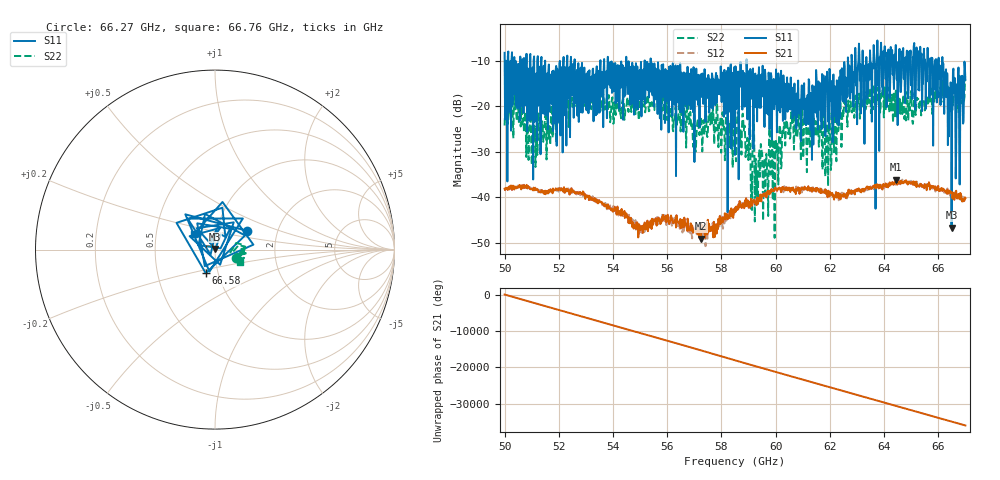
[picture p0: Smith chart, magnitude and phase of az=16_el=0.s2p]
!Created with skrf (http://scikit-rf.org).
# GHz S RI R 50.0
!freq ReS11 ImS11 ReS21 ImS21 ReS12 ImS12 ReS22 ImS22
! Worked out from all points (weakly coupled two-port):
!   1001 points, 50 GHz to 67 GHz, reference 50 ohm
!   highest |S21| = -36.14 dB at 64.45 GHz (marker M1); lowest = -49.1 dB at 57.24 GHz (marker M2)
!   lowest |S11| = -46.7 dB at 66.49 GHz (marker M3), VSWR 1.01, Z = 50.2 + j0.415 ohm
!   |S11| at or under -10 dB: 52.58 GHz to 53.53 GHz (949.6 MHz wide, 1.79 % of centre); 55.39 GHz to 58.92 GHz (3.533 GHz wide, 6.18 % of centre); 58.93 GHz to 62.66 GHz (3.736 GHz wide, 6.14 % of centre) (the widest 3 of 64)
!   |S22| runs from -48.9 to -13.2 dB; largest |S21 - S12| = 0.0023
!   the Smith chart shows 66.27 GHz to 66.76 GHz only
!   S11 on the Smith chart (normalised r, x): 66.27 GHz: 1.39, +0.30; 66.58 GHz: 0.87, -0.23; 66.76 GHz: 0.78, +0.14
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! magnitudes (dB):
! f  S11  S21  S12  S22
! 50 GHz  -8.2  -38.1  -38.2  -24.2
! 50.15 GHz  -21.3  -37.7  -37.5  -21.0
! 51.14 GHz  -13.8  -38.1  -37.9  -33.3
! 52.84 GHz  -12.1  -39.2  -39.1  -19.6
! 55.68 GHz  -13.2  -44.5  -46.2  -21.6
! 57.24 GHz  -12.9  -49.1  -47.8  -22.5
! 58.5 GHz  -30.7  -43.2  -42.6  -23.9
! 58.79 GHz  -12.1  -41.5  -41.3  -21.6
! 59.3 GHz  -15.2  -41.7  -41.9  -41.6
! 60.64 GHz  -15.8  -37.8  -38.2  -22.5
! 61.34 GHz  -31.8  -38.8  -38.6  -27.1
! 62 GHz  -12.2  -38.8  -38.9  -24.3
! 62.55 GHz  -11.3  -39.7  -39.2  -18.8
! 64.18 GHz  -12.0  -37.6  -37.3  -17.5
! 64.45 GHz  -12.5  -36.1  -36.5  -17.8
! 66.27 GHz  -13.7  -38.7  -39.0  -17.9
! 66.44 GHz  -21.0  -39.1  -39.7  -16.5
! 66.49 GHz  -46.7  -38.9  -38.9  -15.3
! 66.58 GHz  -17.0  -39.0  -39.3  -15.8
! 66.76 GHz  -16.8  -39.5  -39.8  -16.1
! 66.86 GHz  -18.1  -40.4  -40.6  -16.5
! 67 GHz  -14.1  -40.2  -40.0  -14.5
